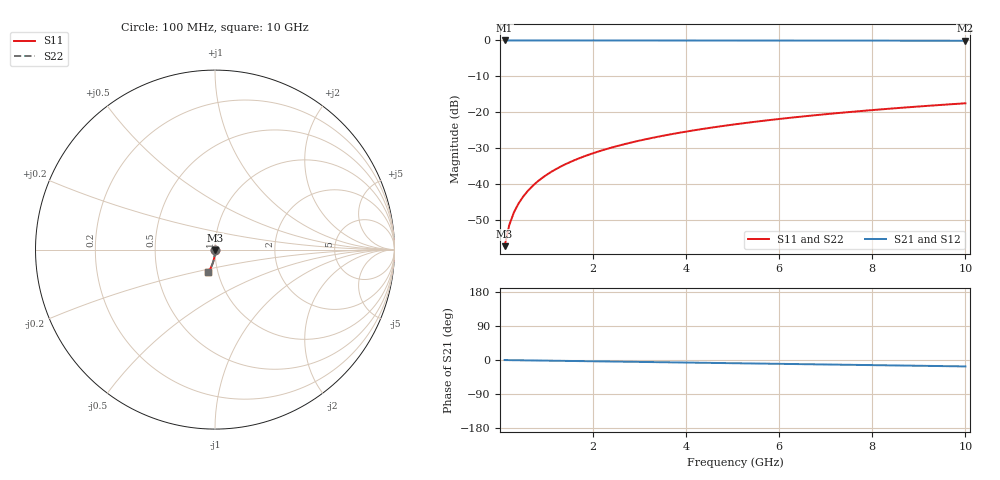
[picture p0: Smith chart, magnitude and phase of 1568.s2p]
# Hz S RI R 50.00
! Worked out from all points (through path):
!   100 points, 100 MHz to 10 GHz, reference 50 ohm
!   highest |S21| = 0.00 dB at 100 MHz (marker M1); lowest = -0.1 dB at 10 GHz (marker M2)
!   group delay of S21, straight-line fit = 4.7 ps
!   lowest |S11| = -57.3 dB at 100 MHz (marker M3), VSWR 1.00, Z = 50 - j0.134 ohm
!   |S11| at or under -10 dB: start of sweep to end of sweep
!   |S22| runs from -57.3 to -17.5 dB; largest |S21 - S12| = 0
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1e8  0.000247 -0.00134  0.9997 -0.00293  0.9997 -0.00293  0.000247 -0.00134
2e8  0.000235 -0.00268  0.9997 -0.00585  0.9997 -0.00585  0.000235 -0.00268
3e8  0.000214 -0.00402  0.9997 -0.00878  0.9997 -0.00878  0.000214 -0.00402
4e8  0.000186 -0.00536  0.9997 -0.0117  0.9997 -0.0117  0.000186 -0.00536
5e8  0.000149 -0.0067  0.9996 -0.0146  0.9996 -0.0146  0.000149 -0.0067
6e8  0.000105 -0.00804  0.9995 -0.0176  0.9995 -0.0176  0.000105 -0.00804
7e8  5.27e-05 -0.00939  0.9995 -0.0205  0.9995 -0.0205  5.27e-05 -0.00939
8e8  -7.55e-06 -0.0107  0.9994 -0.0234  0.9994 -0.0234  -7.55e-06 -0.0107
9e8  -7.57e-05 -0.0121  0.9993 -0.0263  0.9993 -0.0263  -7.57e-05 -0.0121
1.1e9  -0.000236 -0.0147  0.9991 -0.0322  0.9991 -0.0322  -0.000236 -0.0147
1.4e9  -0.000535 -0.0188  0.9987 -0.041  0.9987 -0.041  -0.000535 -0.0188
1.8e9  -0.00104 -0.0241  0.998 -0.0527  0.998 -0.0527  -0.00104 -0.0241
2.1e9  -0.00151 -0.0281  0.9974 -0.0615  0.9974 -0.0615  -0.00151 -0.0281
2.5e9  -0.00224 -0.0335  0.9964 -0.0732  0.9964 -0.0732  -0.00224 -0.0335
2.9e9  -0.0031 -0.0388  0.9953 -0.0849  0.9953 -0.0849  -0.0031 -0.0388
3.4e9  -0.00435 -0.0455  0.9936 -0.0995  0.9936 -0.0995  -0.00435 -0.0455
4.2e9  -0.00676 -0.056  0.9905 -0.1228  0.9905 -0.1228  -0.00676 -0.056
5.1e9  -0.0101 -0.0678  0.9861 -0.149  0.9861 -0.149  -0.0101 -0.0678
5.9e9  -0.0135 -0.0781  0.9815 -0.1722  0.9815 -0.1722  -0.0135 -0.0781
6.7e9  -0.0175 -0.0882  0.9762 -0.1952  0.9762 -0.1952  -0.0175 -0.0882
8.4e9  -0.0275 -0.109  0.9629 -0.2436  0.9629 -0.2436  -0.0275 -0.109
1e10  -0.0387 -0.1275  0.9477 -0.2882  0.9477 -0.2882  -0.0387 -0.1275
